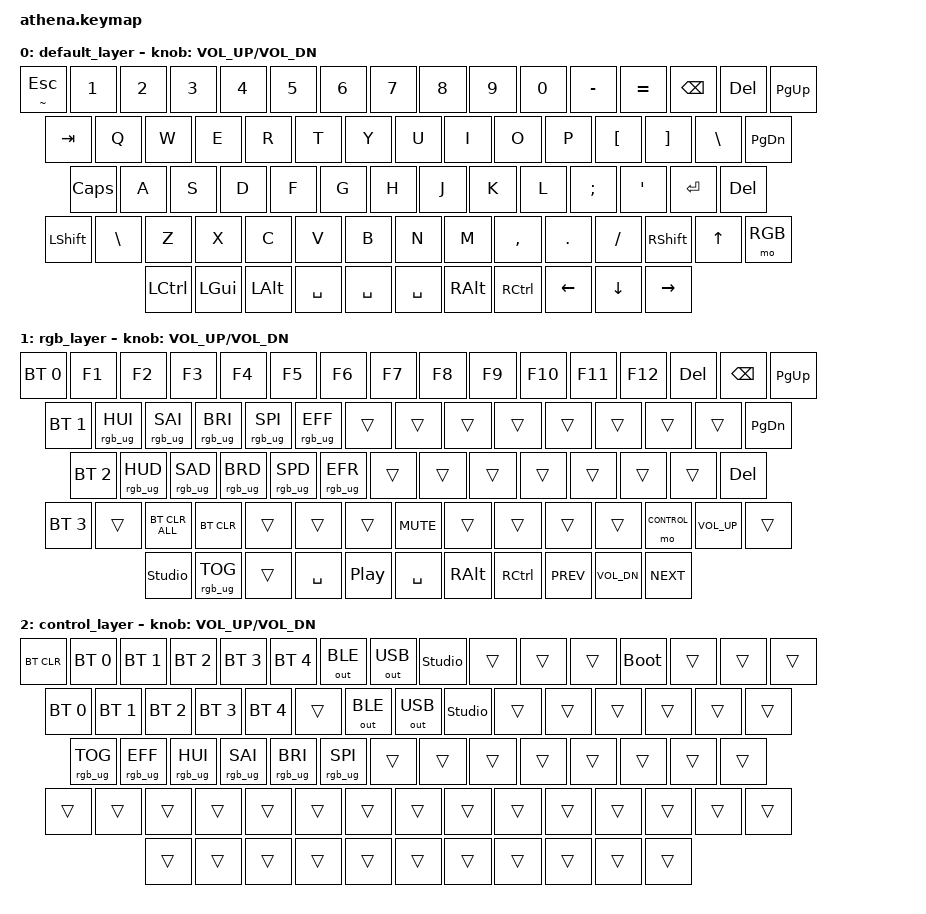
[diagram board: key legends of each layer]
#include <behaviors.dtsi>
#include <dt-bindings/zmk/bt.h>
#include <dt-bindings/zmk/keys.h>
#include <dt-bindings/zmk/rgb.h>
#include <dt-bindings/zmk/outputs.h>

// Layers
#define DEFAULT 0
#define RGB     1
#define CONTROL 2

&mt {
    flavor = "tap-preferred";
    tapping-term-ms = <200>;
};

/ {
    behaviors {
        gresc_cmd: grave_escape_cmd {
            compatible = "zmk,behavior-mod-morph";
            #binding-cells = <0>;
            bindings = <&kp ESC>, <&kp GRAVE>;
            mods = <(MOD_LSFT|MOD_RSFT|MOD_LGUI|MOD_RGUI)>;
            keep-mods = <(MOD_LGUI|MOD_RGUI)>;
            display-name = "macOS Grave Escape";
        };
    };

    keymap {
        compatible = "zmk,keymap";
        

        default_layer {
            // ------------------------------------------------------------------------------------------------------------------------
            // | ESC |  1  |  2  |  3  |  4  |  5  |  6  |  7  |  8  |  9  |  0  |  -  |  =  | BSPC|DEL|           |  PG_UP  |
            // | TAB  |  Q  |  W  |  E  |  R  |  T  |  Y  |  U  |  I  |  O  |  P  |  [  |  ]  |   \                |  PG_DN  |
            // | CAPS  |  A  |  S  |  D  |  F  |  G  |  H  |  J  |  K  |  L  |  ;  |  '  |     ENTER               |  DEL    |
            // |SHIFT|\|  Z  |  X  |  C  |  V  |  B  |  N  |  M  |  ,  |  .  |  /  |     SHIFT           |   UP   ||  HOME   |
            // |  CTL  |  WIN  |  ALT  |  PG_UP  |      SPACE        |  PG_DN  |  ALT  |  CTRL  |  LEFT  |  DOWN  |  RIGHT  
            // ------------------------------------------------------------------------------------------------------------------------

            bindings = <
&mt TILDE ESC   &kp N1     &kp N2  &kp N3   &kp N4    &kp N5  &kp N6   &kp N7   &kp N8    &kp N9   &kp N0    &kp MINUS &kp EQUAL &kp BSPC &kp DEL               &kp PG_UP
&kp TAB   &kp Q      &kp W    &kp E    &kp R     &kp T   &kp Y    &kp U    &kp I     &kp O    &kp P     &kp LBKT  &kp RBKT  &kp BSLH                            &kp PG_DN  
&kp CLCK  &kp A      &kp S    &kp D    &kp F     &kp G   &kp H    &kp J    &kp K     &kp L    &kp SEMI  &kp SQT             &kp RET                             &kp DEL
&kp LSHFT &kp BSLH   &kp Z    &kp X    &kp C     &kp V   &kp B    &kp N    &kp M     &kp COMMA &kp DOT  &kp FSLH  &kp RSHFT  &kp UP                             &mo RGB
&kp LCTRL &kp LGUI   &kp LALT          &kp SPACE          &kp SPACE         &kp SPACE            &kp RALT  &kp RCTRL &kp LEFT  &kp DOWN  &kp RIGHT            
            >;

            sensor-bindings = <&inc_dec_kp C_VOL_UP C_VOL_DN>;
        };

        rgb_layer {
    // -----------------------------------------------------------------------------------
    // | BT0 |  F1 |  F2 |  F3 |  F4 |  F5 |  F6 |  F7 |  F8 |  F9 | F10 | F11 | F12 |  DEL | BSPC | PG_UP |
    // | BT1 | HUE+| SAT+| BRI+| SPD+|  FX+|  —  |  —  |  —  |  —  |  —  |  —  |  —  |  —          | PG_DN |
    // | BT2 | HUE-| SAT-| BRI-| SPD-|  FX-|  —  |  —  |  —  |  —  |  —  |  —  |  —                |  DEL |
    // | BT3 |  —  |  —  |  —  |  —  |  —  |  —  | MUTE|  —  |  —  |  —  |  —  | CTRL| VOL↑        |   —     |
    // | BT4 | STU | RGB_TOG| LALT| SPACE| PLAY/PAUSE | SPACE | RALT | RCTRL  | PREV | VOL↓ | NEXT |
    // -----------------------------------------------------------------------------------

             bindings = <
 &bt BT_SEL 0    &kp F1            &kp F2              &kp F3              &kp F4              &kp F5          &kp F6   &kp F7   &kp F8    &kp F9   &kp F10    &kp F11 &kp F12 &kp DEL &kp BSPC      &kp PG_UP
 &bt BT_SEL 1   &rgb_ug RGB_HUI   &rgb_ug RGB_SAI	    &rgb_ug RGB_BRI    &rgb_ug RGB_SPI     &rgb_ug RGB_EFF &trans    &trans    &trans     &trans    &trans     &trans  &trans  &trans            &kp PG_DN  
 &bt BT_SEL 2   &rgb_ug RGB_HUD   &rgb_ug RGB_SAD    &rgb_ug RGB_BRD   &rgb_ug RGB_SPD     &rgb_ug RGB_EFR   &trans    &trans    &trans     &trans    &trans  &trans             &trans              &kp DEL
 &bt BT_SEL 3 &trans   &bt BT_CLR_ALL    &bt BT_CLR             &trans              &trans              &trans          &kp C_MUTE &trans     &trans &trans  &trans &mo CONTROL      &kp C_VOL_UP                &trans
 &studio_unlock   &rgb_ug RGB_TOG &trans         &kp SPACE          &kp C_PLAY_PAUSE         &kp SPACE            &kp RALT  &kp RCTRL                         &kp C_PREV &kp C_VOL_DN  &kp C_NEXT            
            >;


            sensor-bindings = <&inc_dec_kp C_VOL_UP C_VOL_DN>;
        };

        control_layer {
    // --------------------------------------------------------------------------------------------------------
    // | BT CLR | BT1 | BT2 | BT3 | BT4 | BT5 | OUT_BT | OUT_USB | STU |   –  |   –  |   –  |   –  | SOFTOFF | BOOTLDR |   –   |
    // |  BT1   | BT2 | BT3 | BT4 | BT5 |   –  | OUT_BT | OUT_USB | STU |   –  |   –  |   –  |   –  |    –    |   –     |
    // |  RGBTG | FX+ | HUE+| SAT+| BRI+| SPD+|   –    |   –     |   – |   –  |   –  |   –  |   –  |   –     |
    // |   –    |  –  |  –  |  –  |  –  |  –  |  –     |  –      |  –  |  –   |  –   |  –   |  –   |   –     |   –     |
    // |   –    |  –  |            – SPACE –            |   –     |   –  |   –  |   –  |   –  |   –  |
    // --------------------------------------------------------------------------------------------------------
    bindings = <
    &bt BT_CLR   &bt BT_SEL 0 &bt BT_SEL 1 &bt BT_SEL 2 &bt BT_SEL 3 &bt BT_SEL 4 &out OUT_BLE &out OUT_USB  &studio_unlock  &trans &trans &trans &bootloader &trans        &trans  &trans
    &bt BT_SEL 0  &bt BT_SEL 1 &bt BT_SEL 2 &bt BT_SEL 3 &bt BT_SEL 4 &trans  &out OUT_BLE  &out OUT_USB  &studio_unlock  &trans  &trans  &trans  &trans  &trans                  &trans
    &rgb_ug RGB_TOG  &rgb_ug RGB_EFF  &rgb_ug RGB_HUI  &rgb_ug RGB_SAI &rgb_ug RGB_BRI  &rgb_ug RGB_SPI  &trans  &trans  &trans  &trans  &trans  &trans  &trans                 &trans
    &trans  &trans  &trans  &trans  &trans  &trans  &trans  &trans  &trans  &trans  &trans  &trans  &trans  &trans                                                              &trans
    &trans  &trans              &trans                  &trans               &trans &trans                      &trans  &trans          &trans  &trans  &trans
    >;

            sensor-bindings = <&inc_dec_kp C_VOL_UP C_VOL_DN>;
        };
        
        // Add reserved layers for ZMK Studio to use
        extra_layer_1 {       
            status = "reserved";
        };
        
        extra_layer_2 {
            status = "reserved";
        };
    };

};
